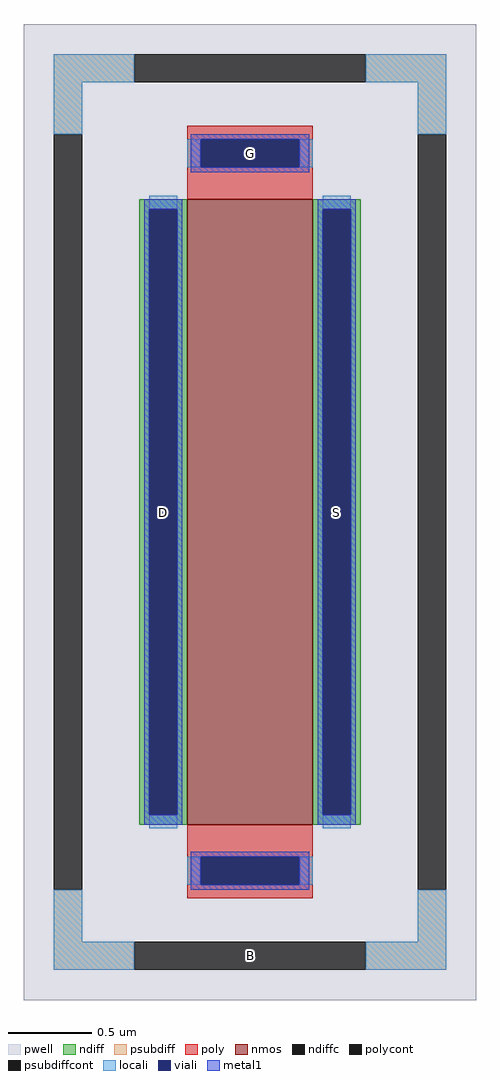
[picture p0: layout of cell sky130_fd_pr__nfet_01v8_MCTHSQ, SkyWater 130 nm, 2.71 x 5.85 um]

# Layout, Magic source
magic
tech sky130A
magscale 1 2
<< pwell >>
rect -271 -585 271 585
<< nmos >>
rect -75 -375 75 375
<< ndiff >>
rect -133 363 -75 375
rect -133 -363 -121 363
rect -87 -363 -75 363
rect -133 -375 -75 -363
rect 75 363 133 375
rect 75 -363 87 363
rect 121 -363 133 363
rect 75 -375 133 -363
<< ndiffc >>
rect -121 -363 -87 363
rect 87 -363 121 363
<< psubdiff >>
rect -235 515 -139 549
rect 139 515 235 549
rect -235 453 -201 515
rect 201 453 235 515
rect -235 -515 -201 -453
rect 201 -515 235 -453
rect -235 -549 -139 -515
rect 139 -549 235 -515
<< psubdiffcont >>
rect -139 515 139 549
rect -235 -453 -201 453
rect 201 -453 235 453
rect -139 -549 139 -515
<< poly >>
rect -75 447 75 463
rect -75 413 -59 447
rect 59 413 75 447
rect -75 375 75 413
rect -75 -413 75 -375
rect -75 -447 -59 -413
rect 59 -447 75 -413
rect -75 -463 75 -447
<< polycont >>
rect -59 413 59 447
rect -59 -447 59 -413
<< locali >>
rect -235 515 -139 549
rect 139 515 235 549
rect -235 453 -201 515
rect 201 453 235 515
rect -75 413 -59 447
rect 59 413 75 447
rect -121 363 -87 379
rect -121 -379 -87 -363
rect 87 363 121 379
rect 87 -379 121 -363
rect -75 -447 -59 -413
rect 59 -447 75 -413
rect -235 -515 -201 -453
rect 201 -515 235 -453
rect -235 -549 -139 -515
rect 139 -549 235 -515
<< viali >>
rect -59 413 59 447
rect -121 -363 -87 363
rect 87 -363 121 363
rect -59 -447 59 -413
<< metal1 >>
rect -71 447 71 453
rect -71 413 -59 447
rect 59 413 71 447
rect -71 407 71 413
rect -127 363 -81 375
rect -127 -363 -121 363
rect -87 -363 -81 363
rect -127 -375 -81 -363
rect 81 363 127 375
rect 81 -363 87 363
rect 121 -363 127 363
rect 81 -375 127 -363
rect -71 -413 71 -407
rect -71 -447 -59 -413
rect 59 -447 71 -413
rect -71 -453 71 -447
<< labels >>
rlabel psubdiffcont 0 -532 0 -532 0 B
port 5 nsew
rlabel ndiffc -104 0 -104 0 0 D
port 6 nsew
rlabel ndiffc 104 0 104 0 0 S
port 7 nsew
rlabel polycont 0 430 0 430 0 G
port 8 nsew
<< properties >>
string FIXED_BBOX -218 -532 218 532
string gencell sky130_fd_pr__nfet_01v8
string library sky130
string parameters w 3.75 l 0.75 m 1 nf 1 diffcov 100 polycov 100 guard 1 glc 1 grc 1 gtc 1 gbc 1 tbcov 100 rlcov 100 topc 1 botc 1 poverlap 0 doverlap 1 lmin 0.15 wmin 0.42 class mosfet compatible {sky130_fd_pr__nfet_01v8 sky130_fd_pr__nfet_01v8_lvt  sky130_fd_bs_flash__special_sonosfet_star  sky130_fd_pr__nfet_g5v0d10v5 sky130_fd_pr__nfet_05v0_nvt  sky130_fd_pr__nfet_03v3_nvt} full_metal 1 viasrc 100 viadrn 100 viagate 100 viagb 0 viagr 0 viagl 0 viagt 0 doports 1
<< end >>
